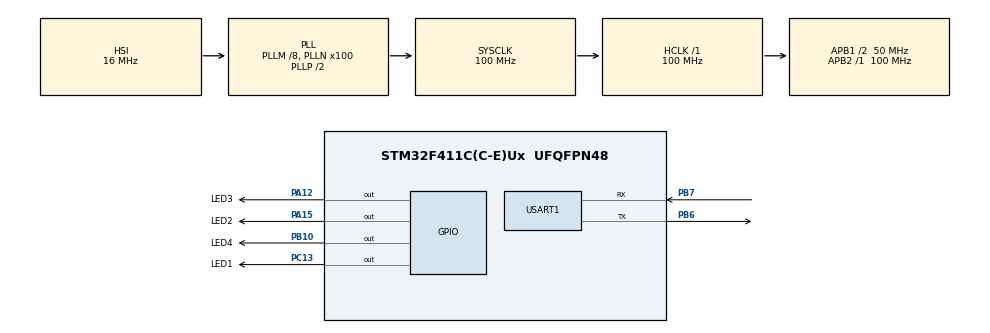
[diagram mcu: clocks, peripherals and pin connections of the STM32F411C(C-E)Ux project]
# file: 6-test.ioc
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Dma.Request0=USART1_RX
Dma.Request1=USART1_TX
Dma.USART1_RX.0.Direction=DMA_PERIPH_TO_MEMORY
Dma.USART1_RX.0.FIFOMode=DMA_FIFOMODE_DISABLE
Dma.USART1_RX.0.Instance=DMA2_Stream2
Dma.USART1_RX.0.MemDataAlignment=DMA_MDATAALIGN_BYTE
Dma.USART1_RX.0.MemInc=DMA_MINC_ENABLE
Dma.USART1_RX.0.Mode=DMA_NORMAL
Dma.USART1_RX.0.PeriphDataAlignment=DMA_PDATAALIGN_BYTE
Dma.USART1_RX.0.PeriphInc=DMA_PINC_DISABLE
Dma.USART1_RX.0.Priority=DMA_PRIORITY_LOW
Dma.USART1_TX.1.Direction=DMA_MEMORY_TO_PERIPH
Dma.USART1_TX.1.FIFOMode=DMA_FIFOMODE_DISABLE
Dma.USART1_TX.1.Instance=DMA2_Stream7
Dma.USART1_TX.1.MemDataAlignment=DMA_MDATAALIGN_BYTE
Dma.USART1_TX.1.MemInc=DMA_MINC_ENABLE
Dma.USART1_TX.1.Mode=DMA_NORMAL
Dma.USART1_TX.1.PeriphDataAlignment=DMA_PDATAALIGN_BYTE
Dma.USART1_TX.1.PeriphInc=DMA_PINC_DISABLE
Dma.USART1_TX.1.Priority=DMA_PRIORITY_LOW
Mcu.Family=STM32F4
Mcu.Name=STM32F411C(C-E)Ux
Mcu.Package=UFQFPN48
NVIC.DMA2_Stream2_IRQn=true\:0\:0\:false\:false\:true\:false\:true
NVIC.DMA2_Stream7_IRQn=true\:0\:0\:false\:false\:true\:false\:true
NVIC.PriorityGroup=NVIC_PRIORITYGROUP_4
NVIC.USART1_IRQn=true\:0\:0\:false\:false\:true\:true\:true
PA12.GPIO_Label=LED3
PA12.PinState=GPIO_PIN_SET
PA12.Signal=GPIO_Output
PA15.GPIO_Label=LED2
PA15.PinState=GPIO_PIN_SET
PA15.Signal=GPIO_Output
PB10.GPIO_Label=LED4
PB10.PinState=GPIO_PIN_SET
PB10.Signal=GPIO_Output
PB6.Mode=Asynchronous
PB6.Signal=USART1_TX
PB7.Mode=Asynchronous
PB7.Signal=USART1_RX
PC13-ANTI_TAMP.GPIO_Label=LED1
PC13-ANTI_TAMP.PinState=GPIO_PIN_SET
PC13-ANTI_TAMP.Signal=GPIO_Output
ProjectManager.HeapSize=0x400
ProjectManager.StackSize=0x800
ProjectManager.TargetToolchain=MDK-ARM V5
RCC.48MHZClocksFreq_Value=50000000
RCC.AHBFreq_Value=100000000
RCC.APB1CLKDivider=RCC_HCLK_DIV2
RCC.APB1Freq_Value=50000000
RCC.APB1TimFreq_Value=100000000
RCC.APB2Freq_Value=100000000
RCC.APB2TimFreq_Value=100000000
RCC.CortexFreq_Value=100000000
RCC.HCLKFreq_Value=100000000
RCC.HSE_VALUE=25000000
RCC.HSI_VALUE=16000000
RCC.LSE_VALUE=32768
RCC.PLLM=8
RCC.PLLN=100
RCC.SYSCLKFreq_VALUE=100000000
RCC.SYSCLKSource=RCC_SYSCLKSOURCE_PLLCLK
RCC.VCOOutputFreq_Value=200000000
USART1.VirtualMode=VM_ASYNC
board=custom

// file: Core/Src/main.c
/* USER CODE BEGIN Header */
/**
  ******************************************************************************
  * @file           : main.c
  * @brief          : Main program body
  ******************************************************************************
  * @attention
  *
  * <h2><center>&copy; Copyright (c) 2019 STMicroelectronics.
  * All rights reserved.</center></h2>
  *
  * This software component is licensed by ST under BSD 3-Clause license,
  * the "License"; You may not use this file except in compliance with the
  * License. You may obtain a copy of the License at:
  *                        opensource.org/licenses/BSD-3-Clause
  *
  ******************************************************************************
  */
/* USER CODE END Header */

#include "main.h"
#include "dma.h"
#include "usart.h"
#include "gpio.h"

/* USER CODE BEGIN Includes */
#include <stdarg.h>
#include <stdio.h>
/* USER CODE END Includes */

/* USER CODE BEGIN PM */
typedef struct
{
  __IO uint32_t ISR;   /*!< DMA interrupt status register */
  __IO uint32_t Reserved0;
  __IO uint32_t IFCR;  /*!< DMA interrupt flag clear register */
} DMA_Base_Registers;
/* USER CODE END PM */

/* USER CODE BEGIN PV */
void emHAL_UART_Transmit_DMA(UART_HandleTypeDef *huart, uint8_t *pData, uint16_t Size)
{

	DMA_HandleTypeDef *hdma = huart->hdmatx;
	DMA_Base_Registers *regs = (DMA_Base_Registers *)hdma->StreamBaseAddress;

	hdma->Instance->CR &= (uint32_t)(~DMA_SxCR_DBM);

	hdma->Instance->NDTR = Size;
	hdma->Instance->PAR = (uint32_t)&huart->Instance->DR;
	hdma->Instance->M0AR = *(uint32_t *)((uint32_t *)&pData);
	regs->IFCR = 0x3FU << hdma->StreamIndex;

	__HAL_DMA_ENABLE(hdma);
	__HAL_UART_CLEAR_FLAG(huart, UART_FLAG_TC);
	SET_BIT(huart->Instance->CR3, USART_CR3_DMAT);
}
/* USER CODE END PV */

void SystemClock_Config(void);

/* USER CODE BEGIN 0 */
char printf_buf[512];
uint16_t length;
void em_printf(const char *format, ...)
{
    va_list args;
    va_start(args, format);

	static uint8_t busy = 0;

	while ( busy==1 && READ_BIT(huart1.Instance->SR, USART_SR_TC) == 0  )
	{
		//HAL_Delay(1);
	}
	busy = 1;

    length = vsnprintf((char*)printf_buf, sizeof(printf_buf), (char*)format, args);
    va_end(args);
    //HAL_UART_Transmit_DMA(&huart1, (uint8_t*)printf_buf, length);
	emHAL_UART_Transmit_DMA(&huart1, (uint8_t*)printf_buf, length);
}
/* USER CODE END 0 */

int main(void)
{

  /* MCU Configuration--------------------------------------------------------*/

  /* Reset of all peripherals, Initializes the Flash interface and the Systick. */
  HAL_Init();

  /* Configure the system clock */
  SystemClock_Config();

  /* Initialize all configured peripherals */
  MX_GPIO_Init();
  MX_DMA_Init();
  MX_USART1_UART_Init();
  /* USER CODE BEGIN 2 */
	//HAL_UART_Transmit_DMA(&huart1, "12345", 5);
  /* USER CODE END 2 */

  /* Infinite loop */
  while (1)
  {

    /* USER CODE BEGIN 3 */
	  em_printf("Have a try\n");
	  HAL_GPIO_TogglePin(LED1_GPIO_Port, LED1_Pin);
	  HAL_Delay(2000);
  }
  /* USER CODE END 3 */
}

void SystemClock_Config(void)
{
  RCC_OscInitTypeDef RCC_OscInitStruct = {0};
  RCC_ClkInitTypeDef RCC_ClkInitStruct = {0};

  /** Configure the main internal regulator output voltage
  */
  __HAL_RCC_PWR_CLK_ENABLE();
  __HAL_PWR_VOLTAGESCALING_CONFIG(PWR_REGULATOR_VOLTAGE_SCALE1);
  /** Initializes the CPU, AHB and APB busses clocks
  */
  RCC_OscInitStruct.OscillatorType = RCC_OSCILLATORTYPE_HSI;
  RCC_OscInitStruct.HSIState = RCC_HSI_ON;
  RCC_OscInitStruct.HSICalibrationValue = RCC_HSICALIBRATION_DEFAULT;
  RCC_OscInitStruct.PLL.PLLState = RCC_PLL_ON;
  RCC_OscInitStruct.PLL.PLLSource = RCC_PLLSOURCE_HSI;
  RCC_OscInitStruct.PLL.PLLM = 8;
  RCC_OscInitStruct.PLL.PLLN = 100;
  RCC_OscInitStruct.PLL.PLLP = RCC_PLLP_DIV2;
  RCC_OscInitStruct.PLL.PLLQ = 4;
  if (HAL_RCC_OscConfig(&RCC_OscInitStruct) != HAL_OK)
  {
    Error_Handler();
  }
  /** Initializes the CPU, AHB and APB busses clocks
  */
  RCC_ClkInitStruct.ClockType = RCC_CLOCKTYPE_HCLK|RCC_CLOCKTYPE_SYSCLK
                              |RCC_CLOCKTYPE_PCLK1|RCC_CLOCKTYPE_PCLK2;
  RCC_ClkInitStruct.SYSCLKSource = RCC_SYSCLKSOURCE_PLLCLK;
  RCC_ClkInitStruct.AHBCLKDivider = RCC_SYSCLK_DIV1;
  RCC_ClkInitStruct.APB1CLKDivider = RCC_HCLK_DIV2;
  RCC_ClkInitStruct.APB2CLKDivider = RCC_HCLK_DIV1;

  if (HAL_RCC_ClockConfig(&RCC_ClkInitStruct, FLASH_LATENCY_3) != HAL_OK)
  {
    Error_Handler();
  }
}

void Error_Handler(void)
{
}

/************************ (C) COPYRIGHT STMicroelectronics *****END OF FILE****/
